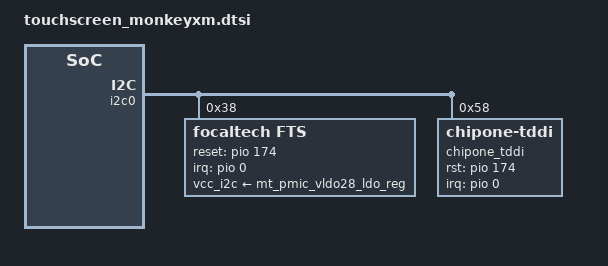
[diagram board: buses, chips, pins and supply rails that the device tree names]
&pio {
	tp_int_input: eint@0 {
		pins_cmd_dat {
			pinmux = <PINMUX_GPIO0__FUNC_GPIO0>;
			slew-rate = <0>;
			bias-pull-up;
		};
	};

	state_rst_output0: rstoutput0 {
		pins_cmd_dat {
			pinmux = <PINMUX_GPIO174__FUNC_GPIO174>;
			slew-rate = <1>;
			output-low;
			bias-pull-down;
		};
	};

	state_rst_output1: rstoutput1 {
		pins_cmd_dat {
			pinmux = <PINMUX_GPIO174__FUNC_GPIO174>;
			slew-rate = <1>;
			output-high;
			bias-pull-up;
		};
	};
};

&i2c0 {
	status = "okay";
	focaltech@38 {
		compatible = "focaltech,fts";
		reg = <0x38>;
		interrupt-parent = <&pio>;
		interrupts = <0 IRQ_TYPE_EDGE_FALLING 0 0>;
		vcc_i2c-supply = <&mt_pmic_vldo28_ldo_reg>;
		focaltech,reset-gpio = <&pio 174 0x00>;
		focaltech,irq-gpio = <&pio 0 0x00>;
		focaltech,display-coords = <0 0 719 1559>;
		focaltech,max-touch-number = <10>;
	};

	chipone_tddi@58 {
		compatible = "chipone-tddi";
		reg = <0x58>;
		interrupt-parent = <&pio>;
		interrupts = <0 IRQ_TYPE_EDGE_FALLING 0 0>;
		chipone,rst-gpio = <&pio 174 0x00>;
		chipone,irq-gpio = <&pio 0 0x00>;
		chipone,x-res = <719>;
		chipone,y-res = <1559>;
	};
};

